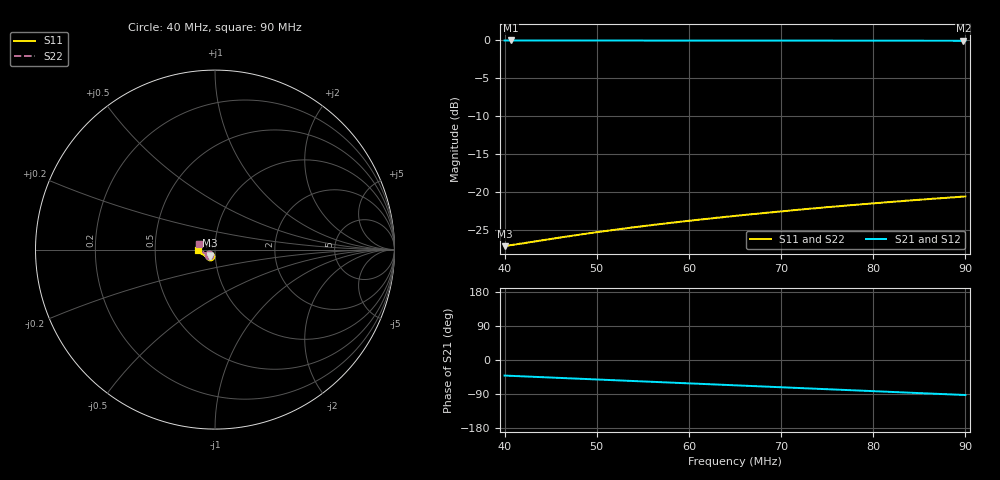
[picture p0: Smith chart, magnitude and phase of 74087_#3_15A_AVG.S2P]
!Agilent Technologies,E5061B,MY49102235,A.02.00
!Date: Mon Jul 03 11:20:26 2023
!Data & Calibration Information:
!Freq	S11:SOLT2(ON)	S21:SOLT2(ON)	S12:SOLT2(ON)	S22:SOLT2(ON)
# Hz S RI R 50
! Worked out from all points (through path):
!   1600 points, 40 MHz to 90 MHz, reference 50 ohm
!   highest |S21| = -0.01 dB at 40.69 MHz (marker M1); lowest = 0.0 dB at 89.78 MHz (marker M2)
!   group delay of S21, straight-line fit = 2.85 ns
!   lowest |S11| = -27.1 dB at 40 MHz (marker M3), VSWR 1.09, Z = 47.1 - j3.17 ohm
!   |S11| at or under -10 dB: start of sweep to end of sweep
!   |S22| runs from -27.3 to -20.6 dB; largest |S21 - S12| = 0.0013
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4e7  -0.0284 -0.0336  0.7527 -0.6571  0.7528 -0.6563  -0.0327 -0.0285
4.068793e7  -0.0292 -0.0338  0.7448 -0.6664  0.7448 -0.6654  -0.0336 -0.0285
4.300188e7  -0.0322 -0.0342  0.7161 -0.6965  0.7164 -0.6959  -0.037 -0.0283
4.444028e7  -0.034 -0.0346  0.6978 -0.7145  0.6981 -0.7141  -0.0392 -0.028
4.834897e7  -0.0391 -0.0351  0.6459 -0.7614  0.646 -0.761  -0.0449 -0.0266
5.000625e7  -0.0415 -0.0352  0.6229 -0.7802  0.6229 -0.7798  -0.0474 -0.0258
5.225766e7  -0.0446 -0.0351  0.5907 -0.8047  0.5907 -0.8042  -0.0506 -0.0244
5.482176e7  -0.048 -0.0349  0.5531 -0.8305  0.5531 -0.8303  -0.0543 -0.0225
5.666667e7  -0.0506 -0.0345  0.5253 -0.8481  0.5252 -0.8477  -0.0569 -0.0209
6.082552e7  -0.0566 -0.033  0.4608 -0.8846  0.4607 -0.8841  -0.0622 -0.0171
6.501563e7  -0.0627 -0.0303  0.393 -0.9167  0.3933 -0.9158  -0.0674 -0.0127
6.901814e7  -0.0685 -0.0269  0.3263 -0.9424  0.3268 -0.9417  -0.0722 -0.00781
7.133208e7  -0.0717 -0.0246  0.2868 -0.9551  0.2873 -0.9543  -0.0749 -0.00458
7.33646e7  -0.0746 -0.0226  0.2515 -0.9648  0.2522 -0.9641  -0.0772 -0.00167
7.530331e7  -0.0772 -0.0203  0.2177 -0.9726  0.2183 -0.9722  -0.0791 0.00132
7.746091e7  -0.0798 -0.0177  0.1799 -0.9801  0.1803 -0.9796  -0.0812 0.00481
7.936836e7  -0.0822 -0.0153  0.146 -0.9852  0.1466 -0.985  -0.0828 0.00824
8.16823e7  -0.085 -0.0124  0.1051 -0.9901  0.1056 -0.9899  -0.0846 0.0125
8.362101e7  -0.0871 -0.00973  0.0706 -0.9927  0.0711 -0.9925  -0.0859 0.0162
8.596623e7  -0.0895 -0.00641  0.0292 -0.9946  0.0294 -0.9943  -0.0871 0.0209
8.978111e7  -0.0934 -0.000531  -0.0383 -0.9936  -0.0382 -0.9933  -0.0887 0.0287
9e7  -0.0936 -9.81e-05  -0.042 -0.9935  -0.042 -0.9931  -0.0888 0.0292
